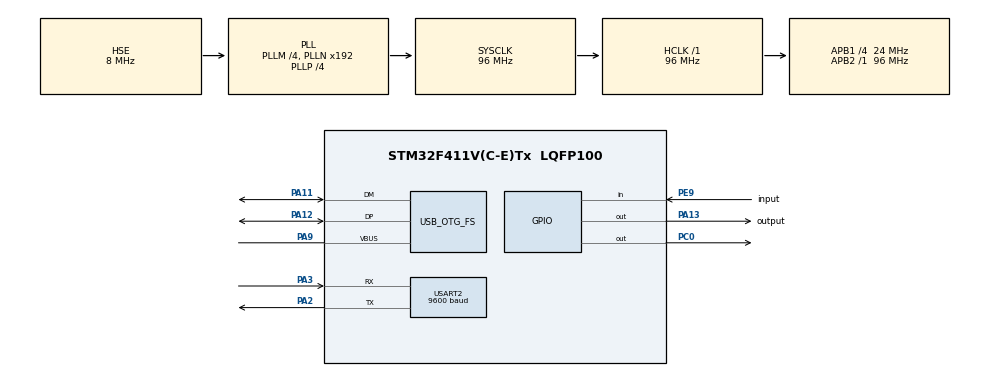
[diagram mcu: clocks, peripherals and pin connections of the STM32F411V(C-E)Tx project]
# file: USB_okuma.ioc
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FATFS._FS_EXFAT=1
FATFS._MAX_SS=4096
FATFS._USE_LFN=1
Mcu.Family=STM32F4
Mcu.Name=STM32F411V(C-E)Tx
Mcu.Package=LQFP100
NVIC.OTG_FS_IRQn=true\:0\:0\:false\:false\:true\:true\:true
NVIC.PriorityGroup=NVIC_PRIORITYGROUP_0
PA11.Mode=Host_Only
PA11.Signal=USB_OTG_FS_DM
PA12.Mode=Host_Only
PA12.Signal=USB_OTG_FS_DP
PA13.GPIO_Label=output
PA13.Signal=GPIO_Output
PA2.Mode=Asynchronous
PA2.Signal=USART2_TX
PA3.Mode=Asynchronous
PA3.Signal=USART2_RX
PA9.Mode=Activate_VBUS
PA9.Signal=USB_OTG_FS_VBUS
PC0.Signal=GPIO_Output
PE9.GPIO_Label=input
PE9.Signal=GPIO_Input
PH0\ -\ OSC_IN.Mode=HSE-External-Oscillator
PH0\ -\ OSC_IN.Signal=RCC_OSC_IN
PH1\ -\ OSC_OUT.Mode=HSE-External-Oscillator
PH1\ -\ OSC_OUT.Signal=RCC_OSC_OUT
ProjectManager.HeapSize=0x200
ProjectManager.StackSize=0x400
ProjectManager.TargetToolchain=STM32CubeIDE
RCC.48MHZClocksFreq_Value=48000000
RCC.AHBFreq_Value=96000000
RCC.APB1CLKDivider=RCC_HCLK_DIV4
RCC.APB1Freq_Value=24000000
RCC.APB1TimFreq_Value=48000000
RCC.APB2Freq_Value=96000000
RCC.APB2TimFreq_Value=96000000
RCC.CortexFreq_Value=96000000
RCC.HCLKFreq_Value=96000000
RCC.HSE_VALUE=8000000
RCC.HSI_VALUE=16000000
RCC.PLLI2SM=5
RCC.PLLI2SN=200
RCC.PLLM=4
RCC.PLLP=RCC_PLLP_DIV4
RCC.PLLQ=8
RCC.SYSCLKFreq_VALUE=96000000
RCC.SYSCLKSource=RCC_SYSCLKSOURCE_PLLCLK
RCC.VCOOutputFreq_Value=384000000
USART2.BaudRate=9600
USART2.VirtualMode=VM_ASYNC
USB_HOST.BSP.number=1
USB_HOST.USBH_HandleTypeDef=hUsbHostFS
USB_HOST.VirtualModeFS=Msc
USB_HOST0.BSP.STBoard=false
USB_HOST0.BSP.api=Unknown
USB_HOST0.BSP.i2caddr=0
USB_HOST0.BSP.i2creg=0
USB_HOST0.BSP.instance=PC0
USB_HOST0.BSP.ip=GPIO
USB_HOST0.BSP.mode=Output
USB_HOST0.BSP.name=Drive_VBUS_FS
USB_HOST0.BSP.solution=PC0
USB_OTG_FS.VirtualMode=Host_Only
USB_OTG_FS.phy_itface=HCD_PHY_EMBEDDED
VP_FATFS_VS_USB.Mode=USB
VP_USB_HOST_VS_USB_HOST_MSC_FS.Mode=MSC_FS
board=STM32F411E-DISCO

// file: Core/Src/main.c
/* USER CODE BEGIN Header */
/**
  ******************************************************************************
  * @file           : main.c
  * @brief          : Main program body
  ******************************************************************************
  * @attention
  *
  * <h2><center>&copy; Copyright (c) 2023 STMicroelectronics.
  * All rights reserved.</center></h2>
  *
  * This software component is licensed by ST under Ultimate Liberty license
  * SLA0044, the "License"; You may not use this file except in compliance with
  * the License. You may obtain a copy of the License at:
  *                             www.st.com/SLA0044
  *
  ******************************************************************************
  */
/* USER CODE END Header */

#include "main.h"
#include "fatfs.h"
#include "usb_host.h"

UART_HandleTypeDef huart2;

/* USER CODE BEGIN PV */

char data[];
char data_input[];
int data_binary = 0 ;
int data_binary_input = 0;
int a,b,c,d,e,f,g,h;  // output binary değişkenleri
int a1,b1,c1,d1,e1,f1,g1,h1; // input binary değişkenleri
int input;

/* USER CODE END PV */

void SystemClock_Config(void);
static void MX_GPIO_Init(void);
static void MX_USART2_UART_Init(void);
void MX_USB_HOST_Process(void);

/* USER CODE BEGIN PFP */

void Output_binary(int tmp);
void input_binary(int tmp);

/* USER CODE END PFP */

int main(void)
{

  /* MCU Configuration--------------------------------------------------------*/

  /* Reset of all peripherals, Initializes the Flash interface and the Systick. */
  HAL_Init();

  /* Configure the system clock */
  SystemClock_Config();

  /* Initialize all configured peripherals */
  MX_GPIO_Init();
  MX_USB_HOST_Init();
  MX_USART2_UART_Init();
  MX_FATFS_Init();

  /* Infinite loop */
  while (1)
  {
    MX_USB_HOST_Process();

    /* USER CODE BEGIN 3 */
    data_binary = data[0];
    a = data_binary/128;
    Output_binary(a);
    input = HAL_GPIO_ReadPin(GPIOE, input_Pin);

    a1 = input*128;
    for(int i = 0 ; i < 5000 ; i++){

    	}
    b = (data_binary-(a*128))/64 ;
    Output_binary(b);
    input = HAL_GPIO_ReadPin(GPIOE, input_Pin);
    b1 = input*64;
    for(int i = 0 ; i < 5000 ; i++){

    	}
    c = (data_binary-(a*128)-(b*64))/32;
    Output_binary(c);
    input = HAL_GPIO_ReadPin(GPIOE, input_Pin);
    c1 = input*32;
    for(int i = 0 ; i < 5000 ; i++){

    	}
    d = (data_binary-(a*128)-(b*64)-(c*32))/16;
    Output_binary(d);
    input = HAL_GPIO_ReadPin(GPIOE, input_Pin);
    d1 = input*16;
    for(int i = 0 ; i < 5000 ; i++){

    	}
    e = (data_binary-(a*128)-(b*64)-(c*32)-(d*16))/8;
    Output_binary(e);
    input = HAL_GPIO_ReadPin(GPIOE, input_Pin);
    e1 = input*8;
    for(int i = 0 ; i < 5000 ; i++){

    	}
    f = (data_binary-(a*128)-(b*64)-(c*32)-(d*16)-(e*8))/4;
    Output_binary(f);
    input = HAL_GPIO_ReadPin(GPIOE, input_Pin);
    f1 = input*4;
    for(int i = 0 ; i < 5000 ; i++){

    	}
    g = (data_binary-(a*128)-(b*64)-(c*32)-(d*16)-(e*8)-(f*4))/2;
    Output_binary(g);
    input = HAL_GPIO_ReadPin(GPIOE, input_Pin);
    g1 = input*2;
    for(int i = 0 ; i < 5000 ; i++){

    	}
    h = data_binary-(a*128)-(b*64)-(c*32)-(d*16)-(e*8)-(f*4)-(g*2);
    Output_binary(h);
    input = HAL_GPIO_ReadPin(GPIOE, input_Pin);
    h1 = input;
    for(int i = 0 ; i < 5000 ; i++){

    	}
    data_binary_input = a1+b1+c1+d1+e1+f1+g1+h1;
    data_input[0] = data_binary_input;
    for(int i = 0 ; i < 5000 ; i++){

    	}
  }
  /* USER CODE END 3 */
}

void SystemClock_Config(void)
{
  RCC_OscInitTypeDef RCC_OscInitStruct = {0};
  RCC_ClkInitTypeDef RCC_ClkInitStruct = {0};

  /** Configure the main internal regulator output voltage
  */
  __HAL_RCC_PWR_CLK_ENABLE();
  __HAL_PWR_VOLTAGESCALING_CONFIG(PWR_REGULATOR_VOLTAGE_SCALE1);
  /** Initializes the CPU, AHB and APB busses clocks
  */
  RCC_OscInitStruct.OscillatorType = RCC_OSCILLATORTYPE_HSE;
  RCC_OscInitStruct.HSEState = RCC_HSE_ON;
  RCC_OscInitStruct.PLL.PLLState = RCC_PLL_ON;
  RCC_OscInitStruct.PLL.PLLSource = RCC_PLLSOURCE_HSE;
  RCC_OscInitStruct.PLL.PLLM = 4;
  RCC_OscInitStruct.PLL.PLLN = 192;
  RCC_OscInitStruct.PLL.PLLP = RCC_PLLP_DIV4;
  RCC_OscInitStruct.PLL.PLLQ = 8;
  if (HAL_RCC_OscConfig(&RCC_OscInitStruct) != HAL_OK)
  {
    Error_Handler();
  }
  /** Initializes the CPU, AHB and APB busses clocks
  */
  RCC_ClkInitStruct.ClockType = RCC_CLOCKTYPE_HCLK|RCC_CLOCKTYPE_SYSCLK
                              |RCC_CLOCKTYPE_PCLK1|RCC_CLOCKTYPE_PCLK2;
  RCC_ClkInitStruct.SYSCLKSource = RCC_SYSCLKSOURCE_PLLCLK;
  RCC_ClkInitStruct.AHBCLKDivider = RCC_SYSCLK_DIV1;
  RCC_ClkInitStruct.APB1CLKDivider = RCC_HCLK_DIV4;
  RCC_ClkInitStruct.APB2CLKDivider = RCC_HCLK_DIV1;

  if (HAL_RCC_ClockConfig(&RCC_ClkInitStruct, FLASH_LATENCY_3) != HAL_OK)
  {
    Error_Handler();
  }
}

static void MX_USART2_UART_Init(void)
{

  huart2.Instance = USART2;
  huart2.Init.BaudRate = 9600;
  huart2.Init.WordLength = UART_WORDLENGTH_8B;
  huart2.Init.StopBits = UART_STOPBITS_1;
  huart2.Init.Parity = UART_PARITY_NONE;
  huart2.Init.Mode = UART_MODE_TX_RX;
  huart2.Init.HwFlowCtl = UART_HWCONTROL_NONE;
  huart2.Init.OverSampling = UART_OVERSAMPLING_16;
  if (HAL_UART_Init(&huart2) != HAL_OK)
  {
    Error_Handler();
  }

}

static void MX_GPIO_Init(void)
{
  GPIO_InitTypeDef GPIO_InitStruct = {0};

  /* GPIO Ports Clock Enable */
  __HAL_RCC_GPIOH_CLK_ENABLE();
  __HAL_RCC_GPIOC_CLK_ENABLE();
  __HAL_RCC_GPIOA_CLK_ENABLE();
  __HAL_RCC_GPIOE_CLK_ENABLE();

  /*Configure GPIO pin Output Level */
  HAL_GPIO_WritePin(GPIOC, GPIO_PIN_0, GPIO_PIN_RESET);

  /*Configure GPIO pin Output Level */
  HAL_GPIO_WritePin(output_GPIO_Port, output_Pin, GPIO_PIN_RESET);

  /*Configure GPIO pin : PC0 */
  GPIO_InitStruct.Pin = GPIO_PIN_0;
  GPIO_InitStruct.Mode = GPIO_MODE_OUTPUT_PP;
  GPIO_InitStruct.Pull = GPIO_NOPULL;
  GPIO_InitStruct.Speed = GPIO_SPEED_FREQ_LOW;
  HAL_GPIO_Init(GPIOC, &GPIO_InitStruct);

  /*Configure GPIO pin : input_Pin */
  GPIO_InitStruct.Pin = input_Pin;
  GPIO_InitStruct.Mode = GPIO_MODE_INPUT;
  GPIO_InitStruct.Pull = GPIO_NOPULL;
  HAL_GPIO_Init(input_GPIO_Port, &GPIO_InitStruct);

  /*Configure GPIO pin : output_Pin */
  GPIO_InitStruct.Pin = output_Pin;
  GPIO_InitStruct.Mode = GPIO_MODE_OUTPUT_PP;
  GPIO_InitStruct.Pull = GPIO_NOPULL;
  GPIO_InitStruct.Speed = GPIO_SPEED_FREQ_LOW;
  HAL_GPIO_Init(output_GPIO_Port, &GPIO_InitStruct);

}

/* USER CODE BEGIN 4 */

void Output_binary(int tmp)
{
	if(tmp==1){
		HAL_GPIO_WritePin(GPIOA, output_Pin, GPIO_PIN_SET);

	}else if(tmp==0){
		HAL_GPIO_WritePin(GPIOA, output_Pin, GPIO_PIN_RESET);

	}

	for(int i = 0 ; i < 5000 ; i++){

	}

}

/* USER CODE END 4 */

void Error_Handler(void)
{
}

/************************ (C) COPYRIGHT STMicroelectronics *****END OF FILE****/
